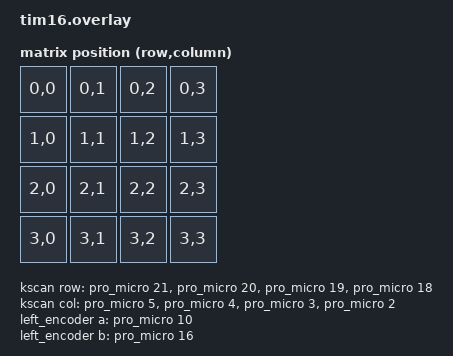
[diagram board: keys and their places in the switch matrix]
#include <dt-bindings/zmk/matrix_transform.h>
#include <physical_layouts.dtsi>

/ {
    chosen {
        zmk,kscan = &kscan;
        zmk,matrix_transform = &default_transform;
    };

    kscan: kscan {
        compatible = "zmk,kscan-gpio-matrix";
        label = "KSCAN";
        diode-direction = "col2row";
        
        row-gpios
            = <&pro_micro 21 (GPIO_ACTIVE_HIGH | GPIO_PULL_DOWN)>
            , <&pro_micro 20 (GPIO_ACTIVE_HIGH | GPIO_PULL_DOWN)>
            , <&pro_micro 19 (GPIO_ACTIVE_HIGH | GPIO_PULL_DOWN)>
            , <&pro_micro 18 (GPIO_ACTIVE_HIGH | GPIO_PULL_DOWN)>
            ;

        col-gpios
            = <&pro_micro 5 GPIO_ACTIVE_HIGH>
            , <&pro_micro 4 GPIO_ACTIVE_HIGH>
            , <&pro_micro 3 GPIO_ACTIVE_HIGH>
            , <&pro_micro 2 GPIO_ACTIVE_HIGH>
            ;
    };

    default_transform: matrix_transform {
        compatible = "zmk,matrix-transform";
        #transform-cells = <2>; /* row col */
        rows = <4>;
        columns = <4>;

        map = <
            RC(0,0) RC(0,1) RC(0,2) RC(0,3)
            RC(1,0) RC(1,1) RC(1,2) RC(1,3)
            RC(2,0) RC(2,1) RC(2,2) RC(2,3)
            RC(3,0) RC(3,1) RC(3,2) RC(3,3)
        >;
    };

    left_encoder: encoder_one {
        compatible = "alps,ec11";
        a-gpios = <&pro_micro 10 (GPIO_ACTIVE_HIGH | GPIO_PULL_UP)>;
        b-gpios = <&pro_micro 16 (GPIO_ACTIVE_HIGH | GPIO_PULL_UP)>;
        steps = <64>;
        status = "okay";
        label = "Left Encoder";
    };

    sensors: sensors {
        compatible = "zmk,keymap-sensors";
        sensors = <&left_encoder>;
        triggers-per-rotation = <20>;
    };

    physical_layout0: physical_layout_0 {
        compatible = "zmk,physical-layout";
        display-name = "tim16";
        transform = <&default_transform>;
        kscan = <&kscan0>;
        keys  //                     w   h    x    y     rot    rx    ry
            = <&key_physical_attrs 100 100    0    0       0     0     0>
            , <&key_physical_attrs 100 100  100    0       0     0     0>
            , <&key_physical_attrs 100 100  200    0       0     0     0>
            , <&key_physical_attrs 100 100  300    0       0     0     0>
            , <&key_physical_attrs 100 100    0  100       0     0     0>
            , <&key_physical_attrs 100 100  100  100       0     0     0>
            , <&key_physical_attrs 100 100  200  100       0     0     0>
            , <&key_physical_attrs 100 100  300  100       0     0     0>
            , <&key_physical_attrs 100 100    0  200       0     0     0>
            , <&key_physical_attrs 100 100  100  200       0     0     0>
            , <&key_physical_attrs 100 100  200  200       0     0     0>
            , <&key_physical_attrs 100 100  300  200       0     0     0>
            , <&key_physical_attrs 100 100    0  300       0     0     0>
            , <&key_physical_attrs 100 100  100  300       0     0     0>
            , <&key_physical_attrs 100 100  200  300       0     0     0>
            , <&key_physical_attrs 100 100  300  300       0     0     0>
            ;
        };
};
